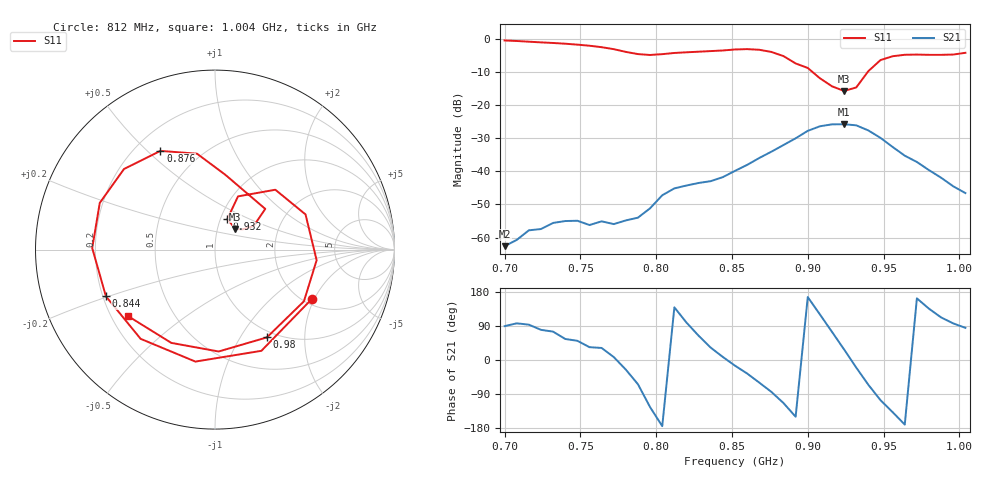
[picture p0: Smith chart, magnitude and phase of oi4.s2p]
# Hz S RI R 50
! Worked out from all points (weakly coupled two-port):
!   39 points, 700 MHz to 1.004 GHz, reference 50 ohm
!   highest |S21| = -25.83 dB at 924 MHz (marker M1); lowest = -62.6 dB at 700 MHz (marker M2)
!   lowest |S11| = -15.8 dB at 924 MHz (marker M3), VSWR 1.39, Z = 60.9 + j14.5 ohm
!   |S11| at or under -10 dB: 902.9 MHz to 939.7 MHz (36.78 MHz wide, 3.99 % of centre)
!   S12 and S22 are empty: the file has one direction only
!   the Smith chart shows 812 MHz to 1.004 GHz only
!   S11 on the Smith chart (normalised r, x): 812 MHz: 2.21, -1.92; 844 MHz: 0.21, -0.20; 876 MHz: 0.30, +0.55; 932 MHz: 1.08, +0.38; 980 MHz: 0.91, -1.31; 1.004 GHz: 0.27, -0.32
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7e8  0.7543 0.5538  8.02e-06 0.000741  0 0  0 0
7.24e8  0.8399 -0.2462  0.000243 0.00132  0 0  0 0
7.4e8  0.458 -0.6995  0.00101 0.00146  0 0  0 0
7.56e8  -0.1875 -0.7567  0.00128 0.00086  0 0  0 0
7.72e8  -0.6607 -0.2043  0.00158 0.000217  0 0  0 0
7.8e8  -0.5905 0.2167  0.00164 -0.00078  0 0  0 0
7.88e8  -0.2486 0.5272  0.000872 -0.0018  0 0  0 0
7.96e8  0.2295 0.5166  -0.00157 -0.00228  0 0  0 0
8.04e8  0.5558 0.1717  -0.00432 -0.000413  0 0  0 0
8.12e8  0.5407 -0.2739  -0.00415 0.00362  0 0  0 0
8.28e8  -0.1094 -0.6239  0.00291 0.00598  0 0  0 0
8.44e8  -0.6079 -0.2601  0.00807 0.00113  0 0  0 0
8.52e8  -0.684 0.00844  0.00978 -0.00261  0 0  0 0
8.76e8  -0.3038 0.55  0.002 -0.0196  0 0  0 0
9e8  0.2801 0.2268  -0.0394 0.00979  0 0  0 0
9.08e8  0.2151 0.1312  -0.024 0.041  0 0  0 0
9.24e8  0.1134 0.1157  0.0452 0.0237  0 0  0 0
9.32e8  0.0685 0.1701  0.0462 -0.0168  0 0  0 0
9.48e8  0.3363 0.3336  -0.00879 -0.0306  0 0  0 0
9.56e8  0.5044 0.196  -0.0171 -0.0157  0 0  0 0
9.8e8  0.2892 -0.4891  -0.00737 0.0073  0 0  0 0
1.004e9  -0.4836 -0.3711  0.000418 0.00466  0 0  0 0
